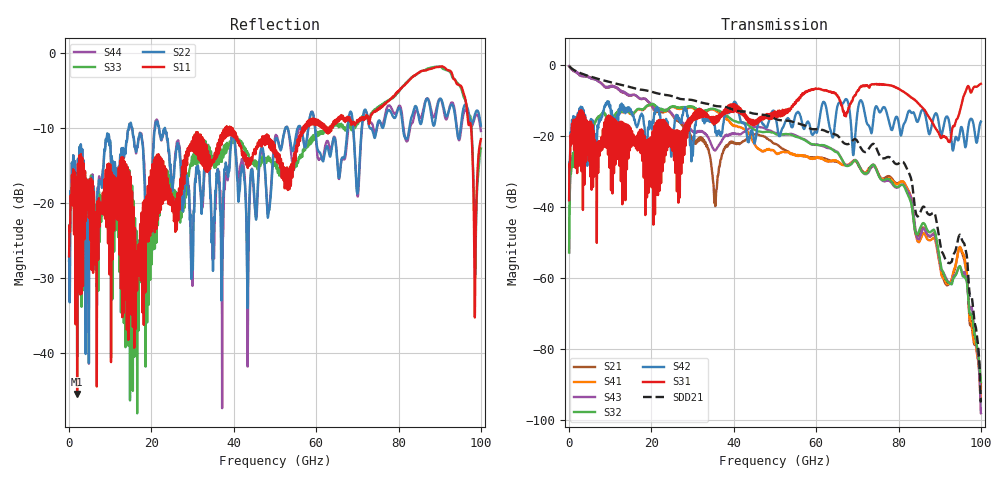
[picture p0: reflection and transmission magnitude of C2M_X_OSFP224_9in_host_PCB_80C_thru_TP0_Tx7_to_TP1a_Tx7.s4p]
# GHz S RI R 45
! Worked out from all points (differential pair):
!   4000 points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, 25 MHz to 100 GHz, reference 45 ohm
!   strongest paths, dB at 25 MHz, 25.02 GHz, 50.02 GHz, 75.03 GHz, 100 GHz:
!     S31: -38.1, -19.0, -13.2, -5.4, -5.3
!     S42: -38.0, -22.6, -13.7, -12.5, -15.9
!     S32: -52.8, -11.7, -19.4, -30.7, -89.3
!     S43: -0.4, -13.8, -19.2, -30.7, -98.1
!     S41: -52.8, -11.9, -24.5, -30.5, -90.7
!     S21: -0.4, -14.0, -22.2, -30.4, -89.9
!   taken as a pair (ports 3,1 in; 4,2 out), SDD21 dB: -0.3, -8.8, -15.1, -24.5, -94.3
!   lowest |S11| = -45.4 dB at 1.975 GHz (marker M1), VSWR 1.01, Z = 44.6 - j0.241 ohm
!   |S11| at or under -10 dB: start of sweep to 37.9 GHz; 39.43 GHz to 56.65 GHz (17.22 GHz wide, 35.8 % of centre); 97.62 GHz to end of sweep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
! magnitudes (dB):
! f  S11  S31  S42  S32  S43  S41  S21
! 25 MHz  -27.1  -38.1  -38.0  -52.8  -0.4  -52.8  -0.4
! 1.975 GHz  -45.4  -30.5  -20.2  -22.4  -2.0  -22.4  -2.0
! 35.48 GHz  -13.6  -15.9  -18.3  -12.5  -24.2  -12.8  -39.3
! 44.83 GHz  -13.5  -16.3  -20.8  -18.1  -17.6  -21.9  -19.6
! 73.95 GHz  -7.9  -5.4  -14.7  -28.2  -28.5  -28.3  -28.1
! 95.3 GHz  -4.5  -11.1  -17.5  -58.2  -58.1  -52.2  -52.5
! 100 GHz  -11.5  -5.3  -15.9  -89.3  -98.1  -90.7  -89.9
